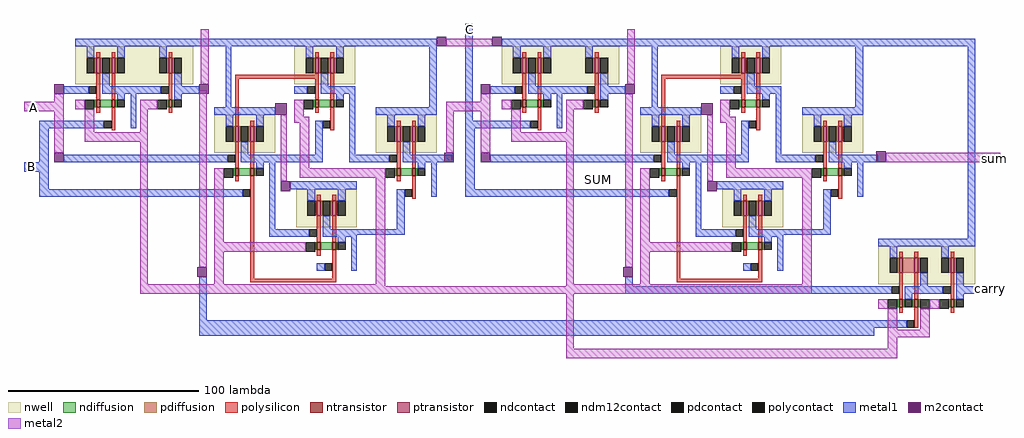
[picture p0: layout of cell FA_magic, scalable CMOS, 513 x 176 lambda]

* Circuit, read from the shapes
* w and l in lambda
.subckt FA_magic A B C GND VDD carry sum
M1 n1 A GND VSUBS nfet w=4 l=2
M2 HA_magic_0/AND_magic_0/NOT_magic_0/in B n1 VSUBS nfet w=4 l=2
M3 OR_magic_0/B HA_magic_0/AND_magic_0/NOT_magic_0/in GND VSUBS nfet w=4 l=2
M4 n2 A GND VSUBS nfet w=4 l=2
M5 HA_magic_0/XOR_magic_0/NAND_magic_3/A B n2 VSUBS nfet w=4 l=2
M6 n3 A GND VSUBS nfet w=4 l=2
M7 n4 HA_magic_0/XOR_magic_0/NAND_magic_3/A GND VSUBS nfet w=4 l=2
M8 HA_magic_0/XOR_magic_0/NAND_magic_2/A HA_magic_0/XOR_magic_0/NAND_magic_3/A n3 VSUBS nfet w=4 l=2
M9 HA_magic_0/XOR_magic_0/NAND_magic_2/B B n4 VSUBS nfet w=4 l=2
M10 n5 HA_magic_0/XOR_magic_0/NAND_magic_2/A GND VSUBS nfet w=4 l=2
M11 HA_magic_1/A HA_magic_0/XOR_magic_0/NAND_magic_2/B n5 VSUBS nfet w=4 l=2
M12 n6 HA_magic_1/A GND VSUBS nfet w=4 l=2
M13 HA_magic_1/AND_magic_0/NOT_magic_0/in C n6 VSUBS nfet w=4 l=2
M14 OR_magic_0/A HA_magic_1/AND_magic_0/NOT_magic_0/in GND VSUBS nfet w=4 l=2
M15 n7 HA_magic_1/A GND VSUBS nfet w=4 l=2
M16 HA_magic_1/XOR_magic_0/NAND_magic_3/A C n7 VSUBS nfet w=4 l=2
M17 n8 HA_magic_1/A GND VSUBS nfet w=4 l=2
M18 n9 HA_magic_1/XOR_magic_0/NAND_magic_3/A GND VSUBS nfet w=4 l=2
M19 HA_magic_1/XOR_magic_0/NAND_magic_2/A HA_magic_1/XOR_magic_0/NAND_magic_3/A n8 VSUBS nfet w=4 l=2
M20 HA_magic_1/XOR_magic_0/NAND_magic_2/B C n9 VSUBS nfet w=4 l=2
M21 n10 HA_magic_1/XOR_magic_0/NAND_magic_2/A GND VSUBS nfet w=4 l=2
M22 sum HA_magic_1/XOR_magic_0/NAND_magic_2/B n10 VSUBS nfet w=4 l=2
M23 OR_magic_0/NOT_magic_0/in OR_magic_0/A GND VSUBS nfet w=4 l=2
M24 GND OR_magic_0/B OR_magic_0/NOT_magic_0/in VSUBS nfet w=4 l=2
M25 carry OR_magic_0/NOT_magic_0/in GND VSUBS nfet w=4 l=2
M26 HA_magic_0/AND_magic_0/NOT_magic_0/in A VDD n11 pfet w=8 l=2
M27 VDD B HA_magic_0/AND_magic_0/NOT_magic_0/in n11 pfet w=8 l=2
M28 OR_magic_0/B HA_magic_0/AND_magic_0/NOT_magic_0/in VDD n11 pfet w=8 l=2
M29 HA_magic_0/XOR_magic_0/NAND_magic_3/A A VDD n12 pfet w=8 l=2
M30 VDD B HA_magic_0/XOR_magic_0/NAND_magic_3/A n12 pfet w=8 l=2
M31 HA_magic_0/XOR_magic_0/NAND_magic_2/A A VDD n13 pfet w=8 l=2
M32 HA_magic_0/XOR_magic_0/NAND_magic_2/B HA_magic_0/XOR_magic_0/NAND_magic_3/A VDD n14 pfet w=8 l=2
M33 VDD HA_magic_0/XOR_magic_0/NAND_magic_3/A HA_magic_0/XOR_magic_0/NAND_magic_2/A n13 pfet w=8 l=2
M34 VDD B HA_magic_0/XOR_magic_0/NAND_magic_2/B n14 pfet w=8 l=2
M35 HA_magic_1/A HA_magic_0/XOR_magic_0/NAND_magic_2/A VDD n15 pfet w=8 l=2
M36 VDD HA_magic_0/XOR_magic_0/NAND_magic_2/B HA_magic_1/A n15 pfet w=8 l=2
M37 HA_magic_1/AND_magic_0/NOT_magic_0/in HA_magic_1/A VDD n16 pfet w=8 l=2
M38 VDD C HA_magic_1/AND_magic_0/NOT_magic_0/in n16 pfet w=8 l=2
M39 OR_magic_0/A HA_magic_1/AND_magic_0/NOT_magic_0/in VDD n16 pfet w=8 l=2
M40 HA_magic_1/XOR_magic_0/NAND_magic_3/A HA_magic_1/A VDD n17 pfet w=8 l=2
M41 VDD C HA_magic_1/XOR_magic_0/NAND_magic_3/A n17 pfet w=8 l=2
M42 HA_magic_1/XOR_magic_0/NAND_magic_2/A HA_magic_1/A VDD n18 pfet w=8 l=2
M43 HA_magic_1/XOR_magic_0/NAND_magic_2/B HA_magic_1/XOR_magic_0/NAND_magic_3/A VDD n19 pfet w=8 l=2
M44 VDD HA_magic_1/XOR_magic_0/NAND_magic_3/A HA_magic_1/XOR_magic_0/NAND_magic_2/A n18 pfet w=8 l=2
M45 VDD C HA_magic_1/XOR_magic_0/NAND_magic_2/B n19 pfet w=8 l=2
M46 sum HA_magic_1/XOR_magic_0/NAND_magic_2/A VDD n20 pfet w=8 l=2
M47 VDD HA_magic_1/XOR_magic_0/NAND_magic_2/B sum n20 pfet w=8 l=2
M48 n21 OR_magic_0/A VDD n22 pfet w=8 l=2
M49 OR_magic_0/NOT_magic_0/in OR_magic_0/B n21 n22 pfet w=8 l=2
M50 carry OR_magic_0/NOT_magic_0/in VDD n22 pfet w=8 l=2
.ends

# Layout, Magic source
magic
tech scmos
<< metal1 >>
rect 185 138 189 192
rect 392 180 453 184
rect -47 114 -39 119
rect 449 75 453 180
rect 45 36 49 59
rect 269 54 273 59
rect 269 50 399 54
rect 456 50 463 53
rect 45 28 400 36
<< m2contact >>
rect 170 180 175 185
rect 199 180 204 185
rect 174 119 179 124
rect 401 119 406 125
rect 44 59 49 64
rect 268 59 273 64
<< metal2 >>
rect 175 180 199 184
rect -47 146 -39 151
rect 45 64 49 157
rect 175 146 187 151
rect 175 124 179 146
rect 269 64 273 155
rect 406 119 466 124
rect 137 50 243 54
rect 269 52 367 55
rect 269 50 273 52
rect 238 21 242 50
rect 407 21 412 27
rect 238 16 412 21
use OR_magic  OR_magic_0
transform 1 0 404 0 1 25
box -5 2 52 54
use HA_magic  HA_magic_0
transform 1 0 -76 0 1 60
box 37 -10 254 129
use HA_magic  HA_magic_1
transform 1 0 148 0 1 60
box 37 -10 254 129
<< labels >>
rlabel space 253 108 257 112 7 SUM
rlabel metal2 463 121 463 121 7 sum
rlabel metal1 461 52 461 53 7 carry
rlabel metal1 -43 117 -43 117 3 B
rlabel metal2 -42 148 -42 148 3 A
rlabel metal1 187 189 187 189 5 C
<< end >>

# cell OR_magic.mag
magic
tech scmos
<< metal1 >>
rect -5 25 -2 29
rect 49 25 52 29
rect -5 7 -2 11
use NOT_magic  NOT_magic_0
transform 1 0 25 0 1 30
box 0 -15 24 24
use NOR_magic  NOR_magic_0
transform 1 0 -2 0 1 30
box 0 -28 32 24
<< labels >>
rlabel metal1 -3 9 -3 9 3 B
rlabel metal1 -4 27 -4 27 3 A
rlabel metal1 51 27 51 27 7 out
<< end >>

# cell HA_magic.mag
magic
tech scmos
<< metal1 >>
rect 118 120 136 124
rect 50 95 53 99
rect 37 77 53 81
rect 37 45 42 77
rect 50 59 122 63
rect 250 59 254 63
rect 37 41 122 45
<< m2contact >>
rect 45 95 50 100
rect 121 95 126 100
rect 45 59 50 64
<< metal2 >>
rect 122 100 126 129
rect 45 91 50 95
rect 37 86 50 91
rect 45 64 50 86
rect 90 -5 94 71
rect 90 -10 134 -5
use XOR_magic  XOR_magic_0
transform 1 0 122 0 1 53
box 0 -63 128 71
use AND_magic  AND_magic_0
transform 1 0 56 0 1 81
box -3 -11 65 43
<< labels >>
rlabel metal1 39 47 40 47 3 B
rlabel metal2 41 89 41 89 3 A
rlabel metal1 252 61 252 61 7 sum
rlabel metal2 124 126 124 126 5 carry
<< end >>

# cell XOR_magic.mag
magic
tech scmos
<< polysilicon >>
rect 18 50 62 52
rect 18 26 20 50
rect 26 -55 28 -12
rect 69 -55 71 -51
rect 26 -57 71 -55
<< metal1 >>
rect 13 67 49 71
rect 81 67 124 71
rect 13 35 16 67
rect 120 35 124 67
rect 60 10 64 24
rect 0 6 7 10
rect 38 6 64 10
rect 78 10 81 24
rect 78 6 92 10
rect 124 6 128 10
rect 0 -12 18 -8
rect 47 -8 53 -4
rect 36 -29 39 -12
rect 103 -29 107 -12
rect 36 -33 50 -29
rect 82 -32 107 -29
<< m2contact >>
rect 39 31 45 37
rect 42 -9 47 -4
<< metal2 >>
rect 7 -36 12 -2
rect 42 -4 45 31
rect 49 30 54 34
rect 49 27 57 30
rect 52 3 57 27
rect 52 -2 92 3
rect 7 -41 50 -36
rect 7 -58 12 -41
rect 92 -58 97 -2
rect 7 -63 97 -58
use NAND_magic  NAND_magic_3
transform 1 0 50 0 1 -28
box 0 -24 32 24
use NAND_magic  NAND_magic_2
transform 1 0 92 0 1 11
box 0 -24 32 24
use NAND_magic  NAND_magic_1
transform 1 0 49 0 1 47
box 0 -24 32 24
use NAND_magic  NAND_magic_0
transform 1 0 7 0 1 11
box 0 -24 32 24
<< labels >>
rlabel metal1 3 8 3 8 3 A
rlabel metal1 3 -10 3 -10 3 B
rlabel metal1 126 8 126 8 7 out
<< end >>

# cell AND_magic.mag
magic
tech scmos
<< nwell >>
rect 32 19 38 39
<< metal1 >>
rect 32 39 38 43
rect -3 14 0 18
rect 32 14 38 18
rect 62 14 65 18
rect -3 -4 11 0
<< metal2 >>
rect 5 -6 10 6
rect 34 -6 38 11
rect 5 -11 38 -6
use NOT_magic  NOT_magic_0
transform 1 0 38 0 1 19
box 0 -15 24 24
use NAND_magic  NAND_magic_0
transform 1 0 0 0 1 19
box 0 -24 32 24
<< labels >>
rlabel metal1 -2 15 -2 15 3 A
rlabel metal1 -2 -2 -2 -2 3 B
rlabel metal1 63 16 63 16 7 out
<< end >>

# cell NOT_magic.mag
magic
tech scmos
<< nwell >>
rect 0 0 24 20
<< ntransistor >>
rect 11 -12 13 -8
<< ptransistor >>
rect 11 6 13 14
<< ndiffusion >>
rect 10 -12 11 -8
rect 13 -12 14 -8
<< pdiffusion >>
rect 10 6 11 14
rect 13 6 14 14
<< ndcontact >>
rect 14 -12 18 -8
<< pdcontact >>
rect 6 6 10 14
rect 14 6 18 14
<< polysilicon >>
rect 11 14 13 17
rect 11 -8 13 6
rect 11 -15 13 -12
<< polycontact >>
rect 7 -5 11 -1
<< metal1 >>
rect 0 20 24 24
rect 6 14 10 20
rect 14 -1 18 6
rect 0 -5 7 -1
rect 14 -5 24 -1
rect 14 -8 18 -5
<< ndm12contact >>
rect 5 -13 10 -8
<< metal2 >>
rect 0 -13 5 -8
<< labels >>
rlabel metal1 0 20 24 24 5 VDD
rlabel metal2 0 -13 5 -8 2 GND
rlabel metal1 21 -3 21 -3 7 out
rlabel metal1 3 -3 3 -3 3 in
<< end >>

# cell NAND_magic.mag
magic
tech scmos
<< nwell >>
rect 0 0 32 20
<< ntransistor >>
rect 11 -12 13 -8
rect 19 -12 21 -8
<< ptransistor >>
rect 11 6 13 14
rect 19 6 21 14
<< ndiffusion >>
rect 10 -12 11 -8
rect 13 -12 19 -8
rect 21 -12 22 -8
<< pdiffusion >>
rect 10 6 11 14
rect 13 6 14 14
rect 18 6 19 14
rect 21 6 22 14
<< ndcontact >>
rect 22 -12 26 -8
<< pdcontact >>
rect 6 6 10 14
rect 14 6 18 14
rect 22 6 26 14
<< polysilicon >>
rect 11 14 13 17
rect 19 14 21 17
rect 11 -8 13 6
rect 19 -8 21 6
rect 11 -15 13 -12
rect 19 -24 21 -12
<< polycontact >>
rect 7 -5 11 -1
rect 15 -23 19 -19
<< metal1 >>
rect 0 20 32 24
rect 6 14 10 20
rect 22 14 26 20
rect 14 -1 18 6
rect 0 -5 7 -1
rect 14 -5 32 -1
rect 22 -8 26 -5
rect 11 -23 15 -19
rect 29 -23 32 -5
<< ndm12contact >>
rect 5 -13 10 -8
<< metal2 >>
rect 0 -13 5 -8
<< labels >>
rlabel metal1 0 20 32 24 5 VDD
rlabel metal2 0 -13 5 -8 3 GND
rlabel metal1 3 -3 3 -3 3 A
rlabel metal1 13 -21 13 -21 1 B
rlabel metal1 31 -21 31 -21 7 out
<< end >>

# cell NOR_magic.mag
magic
tech scmos
<< nwell >>
rect 0 0 32 20
<< ntransistor >>
rect 11 -12 13 -8
rect 19 -12 21 -8
<< ptransistor >>
rect 11 6 13 14
rect 19 6 21 14
<< ndiffusion >>
rect 10 -12 11 -8
rect 13 -12 14 -8
rect 18 -12 19 -8
rect 21 -12 22 -8
<< pdiffusion >>
rect 10 6 11 14
rect 13 6 19 14
rect 21 6 22 14
<< ndcontact >>
rect 14 -12 18 -8
<< pdcontact >>
rect 6 6 10 14
rect 22 6 26 14
<< polysilicon >>
rect 11 14 13 17
rect 19 14 21 17
rect 11 -8 13 6
rect 19 -8 21 6
rect 11 -15 13 -12
rect 19 -23 21 -12
<< polycontact >>
rect 7 -5 11 -1
rect 15 -23 19 -19
<< metal1 >>
rect 0 20 32 24
rect 6 14 10 20
rect 22 -1 26 6
rect 0 -5 7 -1
rect 14 -5 32 -1
rect 14 -8 18 -5
rect 0 -23 15 -19
<< ndm12contact >>
rect 5 -13 10 -8
rect 22 -13 27 -8
<< metal2 >>
rect 0 -13 5 -8
rect 5 -24 10 -13
rect 22 -24 27 -13
rect 5 -28 27 -24
<< labels >>
rlabel metal1 0 20 32 24 5 VDD
rlabel metal2 0 -13 5 -8 3 GND
rlabel metal1 2 -3 2 -3 3 A
rlabel metal1 3 -21 3 -21 3 B
rlabel metal1 30 -3 30 -3 7 out
<< end >>
